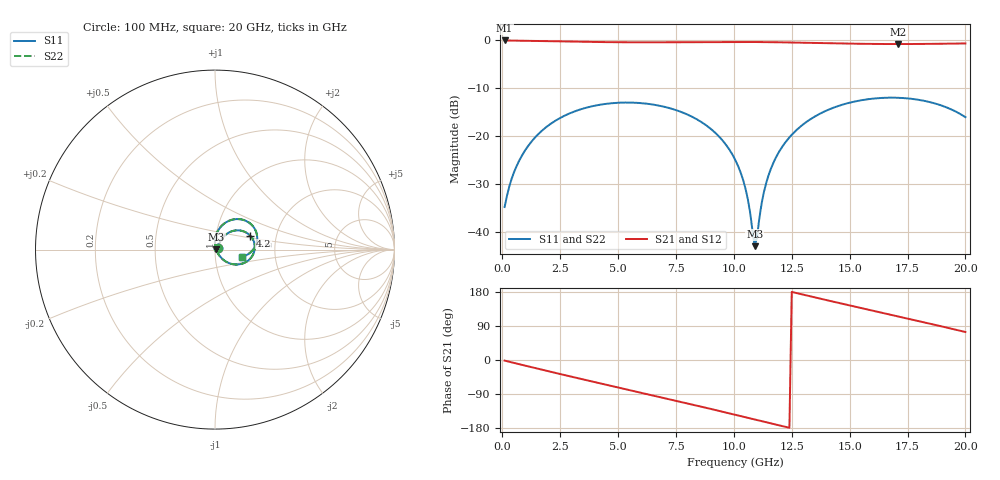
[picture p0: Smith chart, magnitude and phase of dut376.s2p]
! Touchstone file exported from HFSS 2026.1.0
!  File:  C:/ffzhzh/LocalFiles/Ansys_Project_Files/temp_train_TSV_RDL_376_1783041519_51716.aedt
!  Generated:  09:30:54 AM Jul  3, 2026
!  Design:  TSV_RDL
!  Project:  temp_train_TSV_RDL_376_1783041519_51716
! Variables:
!  h_bsmrdl = 4.87um
!  h_ox = 20um
!  h_rdl = 5um
!  h_sub = 93.94um
!  h_tmrdl = 4.23um
!  h_tsv = 93.94um
!  h_via = 3um
!  l_bsmrdl = 389.07um
!  l_sub = 4348.6um
!  l_tmrdl = 664.56um
!  m_sub = 200um
!  pitch = 36.21um
!  r_tsv = 14.24um
!  s_tmrdl = 10um
!  w_bsmrdl = 20.11um
!  w_sub = 500um
!  w_tmrdl = 20.94um
!  x_tsv_center1 = 675.03um
!  x_tsv_center2 = 1084.21um
!  x_tsv_center3 = 1769.71um
!  x_tsv_center4 = 2178.89um
!  x_tsv_center5 = 2864.39um
!  x_tsv_center6 = 3273.57um
# GHz S MA R 50.000000
! Terminal data exported
! Port[1] = TM_RDL1_1_T1
! Port[2] = TM_RDL5_1_T1
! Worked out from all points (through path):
!   200 points, 100 MHz to 20 GHz, reference 50 ohm
!   highest |S21| = -0.14 dB at 100 MHz (marker M1); lowest = -0.9 dB at 17.1 GHz (marker M2)
!   group delay of S21, straight-line fit = 39.7 ps
!   lowest |S11| = -42.9 dB at 10.9 GHz (marker M3), VSWR 1.01, Z = 50.7 + j0.0942 ohm
!   |S11| at or under -10 dB: start of sweep to end of sweep
!   |S22| runs from -44.0 to -12.0 dB; largest |S21 - S12| = 2.1e-14
!   S11 on the Smith chart (normalised r, x): 100 MHz: 1.03, +0.02; 4.2 GHz: 1.46, +0.24; 20 GHz: 1.35, -0.11
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0.1  0.01821 26.3  0.9839 -1.6  0.9839 -1.6  0.01821 26.3
! Gamma 0 0 0 0
! Port Impedance 50 0 50 0
0.5  0.04151 53.8  0.9795 -7.7  0.9795 -7.7  0.04152 53.8
1.2  0.08362 56.7  0.9746 -18.0  0.9746 -18.0  0.08363 56.7
2.2  0.1393 47.4  0.9656 -32.7  0.9656 -32.7  0.1393 47.3
3.5  0.1928 31.0  0.9528 -51.4  0.9528 -51.4  0.1928 31.0
4.2  0.2107 21.8  0.9472 -61.2  0.9472 -61.2  0.2107 21.7
6.8  0.2058 -12.6  0.9414 -97.6  0.9414 -97.6  0.2059 -12.8
8.8  0.1292 -39.0  0.9478 -126.1  0.9478 -126.1  0.1293 -39.3
10.1  0.05383 -53.0  0.9496 -145.1  0.9496 -145.1  0.05385 -53.8
10.6  0.02223 -49.2  0.9488 -152.5  0.9488 -152.5  0.02209 -51.4
10.9  0.007132 7.5  0.9479 -156.9  0.9479 -156.9  0.006287 4.9
11  0.008789 53.9  0.9475 -158.4  0.9475 -158.4  0.008014 57.1
11.1  0.01384 74.9  0.9471 -159.9  0.9471 -159.9  0.0133 78.0
11.3  0.02616 86.9  0.9461 -162.8  0.9461 -162.8  0.02582 88.8
11.7  0.05206 89.1  0.9436 -168.7  0.9436 -168.7  0.05182 90.1
12.4  0.09655 82.7  0.938 -178.9  0.938 -178.9  0.09638 83.3
13.4  0.1541 70.4  0.9279 166.6  0.9279 166.6  0.1539 70.7
14.9  0.2185 50.7  0.9128 145.4  0.9128 145.4  0.2184 51.0
16.7  0.2499 27.3  0.903 120.5  0.903 120.5  0.2498 27.5
17.1  0.2492 22.1  0.9026 114.9  0.9026 114.9  0.2492 22.3
18.6  0.2205 2.8  0.9072 94.0  0.9072 94.0  0.2205 3.0
20  0.1568 -14.7  0.9162 73.9  0.9162 73.9  0.1569 -14.5
